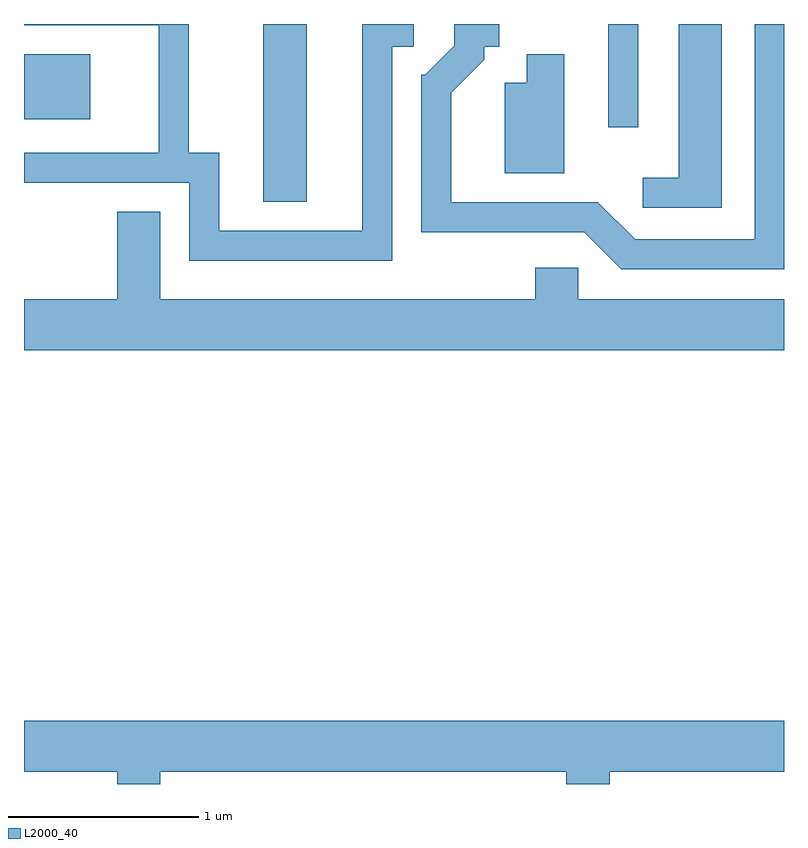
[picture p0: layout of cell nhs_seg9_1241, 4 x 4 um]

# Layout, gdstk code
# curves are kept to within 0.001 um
import gdstk
lib = gdstk.Library(unit=1e-6, precision=1e-09)
def R(c, l, rs):  # rectangles x0, y0, x1, y1
    for r in rs: c.add(gdstk.rectangle(r[:2], r[2:], *l))
def P(c, l, *ps):  # polygons
    for p in ps: c.add(gdstk.Polygon(p, *l))
L2000_40 = (2000, 40)

nhs_seg9_1241 = lib.new_cell('nhs_seg9_1241')
R(nhs_seg9_1241, L2000_40, [(222.871,1981.496,223.099,1982.432), (224.686,1981.888,224.844,1982.432), (221.611,1981.931,221.959,1982.274)])
P(nhs_seg9_1241, L2000_40, [(223.549,1982.311),(223.663,1982.311),(223.663,1982.432),(223.391,1982.432),(223.391,1981.344),(222.639,1981.344),(222.639,1981.754),(222.479,1981.754),(222.479,1982.432),(221.611,1982.432),(221.611,1982.426),(222.321,1982.426),(222.321,1981.754),(221.611,1981.754),(221.611,1981.596),(222.481,1981.596),(222.481,1981.186),(223.549,1981.186)],
  [(225.284,1982.432),(225.056,1982.432),(225.056,1981.624),(224.868,1981.624),(224.868,1981.466),(225.284,1981.466)],
  [(225.611,1982.432),(225.456,1982.432),(225.456,1981.299),(224.827,1981.299),(224.632,1981.494),(223.859,1981.494),(223.859,1982.069),(224.034,1982.244),(224.034,1982.311),(224.113,1982.311),(224.113,1982.432),(223.876,1982.432),(223.876,1982.317),(223.724,1982.164),(223.701,1982.164),(223.701,1981.336),(224.559,1981.336),(224.754,1981.141),(225.611,1981.141)],
  [(224.454,1982.274),(224.256,1982.274),(224.256,1982.124),(224.141,1982.124),(224.141,1981.646),(224.454,1981.646)],
  [(225.611,1980.984),(224.529,1980.984),(224.529,1981.149),(224.301,1981.149),(224.301,1980.984),(222.329,1980.984),(222.329,1981.444),(222.101,1981.444),(222.101,1980.984),(221.611,1980.984),(221.611,1980.716),(225.611,1980.716)],
  [(222.329,1978.496),(224.466,1978.496),(224.466,1978.432),(224.694,1978.432),(224.694,1978.496),(225.611,1978.496),(225.611,1978.764),(221.611,1978.764),(221.611,1978.496),(222.101,1978.496),(222.101,1978.432),(222.329,1978.432)])

lib.write_gds('nhs_seg9_1241.gds')
